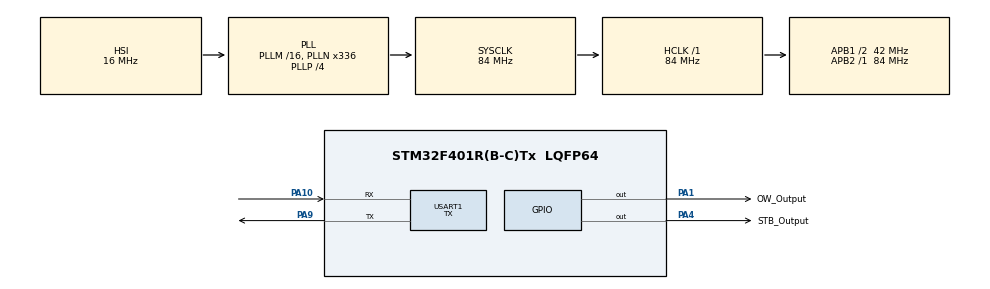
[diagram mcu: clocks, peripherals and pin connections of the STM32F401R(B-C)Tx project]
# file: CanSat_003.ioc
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Mcu.Family=STM32F4
Mcu.Name=STM32F401R(B-C)Tx
Mcu.Package=LQFP64
NVIC.PriorityGroup=NVIC_PRIORITYGROUP_4
PA1.GPIO_Label=OW_Output
PA1.GPIO_ModeDefaultOutputPP=GPIO_MODE_OUTPUT_OD
PA1.GPIO_PuPd=GPIO_PULLUP
PA1.GPIO_Speed=GPIO_SPEED_FREQ_VERY_HIGH
PA1.Signal=GPIO_Output
PA10.Mode=Asynchronous
PA10.Signal=USART1_RX
PA13.Mode=Serial_Wire
PA13.Signal=SYS_JTMS-SWDIO
PA14.Mode=Serial_Wire
PA14.Signal=SYS_JTCK-SWCLK
PA4.GPIO_Label=STB_Output
PA4.GPIO_Speed=GPIO_SPEED_FREQ_VERY_HIGH
PA4.Signal=GPIO_Output
PA9.Mode=Asynchronous
PA9.Signal=USART1_TX
PH0\ -\ OSC_IN.Mode=HSE-External-Oscillator
PH0\ -\ OSC_IN.Signal=RCC_OSC_IN
PH1\ -\ OSC_OUT.Mode=HSE-External-Oscillator
PH1\ -\ OSC_OUT.Signal=RCC_OSC_OUT
ProjectManager.HeapSize=0x200
ProjectManager.StackSize=0x400
ProjectManager.TargetToolchain=STM32CubeIDE
RCC.48MHZClocksFreq_Value=84000000
RCC.AHBFreq_Value=84000000
RCC.APB1CLKDivider=RCC_HCLK_DIV2
RCC.APB1Freq_Value=42000000
RCC.APB1TimFreq_Value=84000000
RCC.APB2Freq_Value=84000000
RCC.APB2TimFreq_Value=84000000
RCC.CortexFreq_Value=84000000
RCC.HCLKFreq_Value=84000000
RCC.HSE_VALUE=8000000
RCC.HSI_VALUE=16000000
RCC.LSE_VALUE=32768
RCC.PLLN=336
RCC.PLLP=RCC_PLLP_DIV4
RCC.SYSCLKFreq_VALUE=84000000
RCC.SYSCLKSource=RCC_SYSCLKSOURCE_PLLCLK
RCC.VCOOutputFreq_Value=336000000
TIM10.Prescaler=83
USART1.Mode=MODE_TX
USART1.VirtualMode=VM_ASYNC
VP_TIM10_VS_ClockSourceINT.Mode=Enable_Timer
board=custom

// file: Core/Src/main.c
/* USER CODE BEGIN Header */
/**
  ******************************************************************************
  * @file           : main.c
  * @brief          : Main program body
  ******************************************************************************
  * @attention
  *
  * Copyright (c) 2023 STMicroelectronics.
  * All rights reserved.
  *
  * This software is licensed under terms that can be found in the LICENSE file
  * in the root directory of this software component.
  * If no LICENSE file comes with this software, it is provided AS-IS.
  *
  ******************************************************************************
  */
/* USER CODE END Header */
#include "main.h"

/* USER CODE BEGIN Includes */
#include "ds18b20.h"
/* USER CODE END Includes */

TIM_HandleTypeDef htim10;

UART_HandleTypeDef huart1;

/* USER CODE BEGIN PV */
char str1[60];

extern void initialise_monitor_handles(void);
/* USER CODE END PV */

void SystemClock_Config(void);
static void MX_GPIO_Init(void);
static void MX_TIM10_Init(void);
static void MX_USART1_UART_Init(void);

int main(void)
{
  /* USER CODE BEGIN 1 */
//	int status;
	char c;    //sign
	int dt[8]; //scratchpad data
	int raw_temper;
	float temper;
  /* USER CODE END 1 */

  /* MCU Configuration--------------------------------------------------------*/

  /* Reset of all peripherals, Initializes the Flash interface and the Systick. */
  HAL_Init();

  /* USER CODE BEGIN Init */
  initialise_monitor_handles();
  /* USER CODE END Init */

  /* Configure the system clock */
  SystemClock_Config();

  /* Initialize all configured peripherals */
  MX_GPIO_Init();
  MX_TIM10_Init();
  MX_USART1_UART_Init();

  /* Infinite loop */
  /* USER CODE BEGIN WHILE */
  while (1)
  {
	  //initializing the sensor
	  ds18b20_Reset();
	  ds18b20_WriteByte(0xCC);
	  ds18b20_WriteByte(0x44);
    /* USER CODE END WHILE */

    /* USER CODE BEGIN 3 */
	  HAL_Delay(750);//delay 750 ms
	  ds18b20_ReadScratchpad(dt);

	  //for debug
	  printf("Scratchpad: %02X %02X %02X %02X %02X %02X %02X %02X; \n",
	  dt[0], dt[1], dt[2], dt[3], dt[4], dt[5], dt[6], dt[7]);

	  raw_temper = ((int)dt[1]<<8)|dt[0];
	  if(ds18b20_GetSign(raw_temper)) c='-';
	  else c='+';

	  temper = ds18b20_Convert(raw_temper);
	  printf("t: %c%.2f\n", c, temper);

	  //strob for sync, useful
	  HAL_GPIO_WritePin(GPIOA, GPIO_PIN_4, GPIO_PIN_SET);
//	  HAL_Delay(1);
	  HAL_GPIO_WritePin(GPIOA, GPIO_PIN_4, GPIO_PIN_RESET);
  }
  /* USER CODE END 3 */
}

void SystemClock_Config(void)
{
  RCC_OscInitTypeDef RCC_OscInitStruct = {0};
  RCC_ClkInitTypeDef RCC_ClkInitStruct = {0};

  /** Configure the main internal regulator output voltage
  */
  __HAL_RCC_PWR_CLK_ENABLE();
  __HAL_PWR_VOLTAGESCALING_CONFIG(PWR_REGULATOR_VOLTAGE_SCALE2);

  /** Initializes the RCC Oscillators according to the specified parameters
  * in the RCC_OscInitTypeDef structure.
  */
  RCC_OscInitStruct.OscillatorType = RCC_OSCILLATORTYPE_HSI;
  RCC_OscInitStruct.HSIState = RCC_HSI_ON;
  RCC_OscInitStruct.HSICalibrationValue = RCC_HSICALIBRATION_DEFAULT;
  RCC_OscInitStruct.PLL.PLLState = RCC_PLL_ON;
  RCC_OscInitStruct.PLL.PLLSource = RCC_PLLSOURCE_HSI;
  RCC_OscInitStruct.PLL.PLLM = 16;
  RCC_OscInitStruct.PLL.PLLN = 336;
  RCC_OscInitStruct.PLL.PLLP = RCC_PLLP_DIV4;
  RCC_OscInitStruct.PLL.PLLQ = 4;
  if (HAL_RCC_OscConfig(&RCC_OscInitStruct) != HAL_OK)
  {
    Error_Handler();
  }

  /** Initializes the CPU, AHB and APB buses clocks
  */
  RCC_ClkInitStruct.ClockType = RCC_CLOCKTYPE_HCLK|RCC_CLOCKTYPE_SYSCLK
                              |RCC_CLOCKTYPE_PCLK1|RCC_CLOCKTYPE_PCLK2;
  RCC_ClkInitStruct.SYSCLKSource = RCC_SYSCLKSOURCE_PLLCLK;
  RCC_ClkInitStruct.AHBCLKDivider = RCC_SYSCLK_DIV1;
  RCC_ClkInitStruct.APB1CLKDivider = RCC_HCLK_DIV2;
  RCC_ClkInitStruct.APB2CLKDivider = RCC_HCLK_DIV1;

  if (HAL_RCC_ClockConfig(&RCC_ClkInitStruct, FLASH_LATENCY_2) != HAL_OK)
  {
    Error_Handler();
  }
}

static void MX_TIM10_Init(void)
{

  htim10.Instance = TIM10;
  htim10.Init.Prescaler = 83;
  htim10.Init.CounterMode = TIM_COUNTERMODE_UP;
  htim10.Init.Period = 65535;
  htim10.Init.ClockDivision = TIM_CLOCKDIVISION_DIV1;
  htim10.Init.AutoReloadPreload = TIM_AUTORELOAD_PRELOAD_DISABLE;
  if (HAL_TIM_Base_Init(&htim10) != HAL_OK)
  {
    Error_Handler();
  }

}

static void MX_USART1_UART_Init(void)
{

  huart1.Instance = USART1;
  huart1.Init.BaudRate = 115200;
  huart1.Init.WordLength = UART_WORDLENGTH_8B;
  huart1.Init.StopBits = UART_STOPBITS_1;
  huart1.Init.Parity = UART_PARITY_NONE;
  huart1.Init.Mode = UART_MODE_TX;
  huart1.Init.HwFlowCtl = UART_HWCONTROL_NONE;
  huart1.Init.OverSampling = UART_OVERSAMPLING_16;
  if (HAL_UART_Init(&huart1) != HAL_OK)
  {
    Error_Handler();
  }

}

static void MX_GPIO_Init(void)
{
  GPIO_InitTypeDef GPIO_InitStruct = {0};

  /* GPIO Ports Clock Enable */
  __HAL_RCC_GPIOH_CLK_ENABLE();
  __HAL_RCC_GPIOA_CLK_ENABLE();

  /*Configure GPIO pin Output Level */
  HAL_GPIO_WritePin(GPIOA, OW_Output_Pin|STB_Output_Pin, GPIO_PIN_RESET);

  /*Configure GPIO pin : OW_Output_Pin */
  GPIO_InitStruct.Pin = OW_Output_Pin;
  GPIO_InitStruct.Mode = GPIO_MODE_OUTPUT_OD;
  GPIO_InitStruct.Pull = GPIO_PULLUP;
  GPIO_InitStruct.Speed = GPIO_SPEED_FREQ_VERY_HIGH;
  HAL_GPIO_Init(OW_Output_GPIO_Port, &GPIO_InitStruct);

  /*Configure GPIO pin : STB_Output_Pin */
  GPIO_InitStruct.Pin = STB_Output_Pin;
  GPIO_InitStruct.Mode = GPIO_MODE_OUTPUT_PP;
  GPIO_InitStruct.Pull = GPIO_NOPULL;
  GPIO_InitStruct.Speed = GPIO_SPEED_FREQ_VERY_HIGH;
  HAL_GPIO_Init(STB_Output_GPIO_Port, &GPIO_InitStruct);

}

void Error_Handler(void)
{
  __disable_irq();
  while (1)
  {
  }
}
